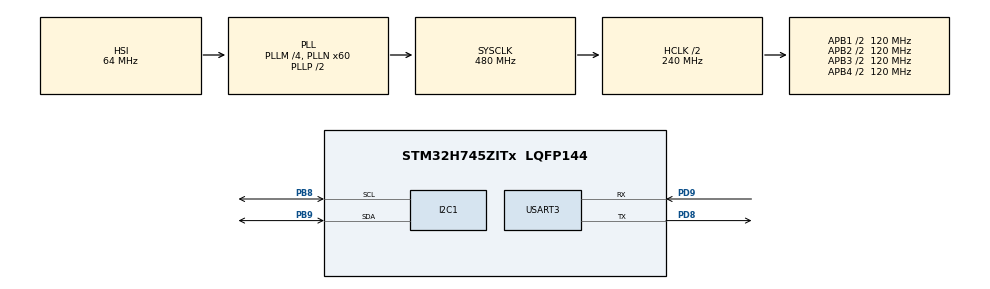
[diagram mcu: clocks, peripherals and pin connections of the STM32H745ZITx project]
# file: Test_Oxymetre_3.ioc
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CortexM4.IPs=FATFS_M4\:I,FREERTOS_M4\:I,IWDG2\:I,RCC,WWDG2\:I,DMA,BDMA,MDMA,NVIC2\:I,ETH,DEBUG,PDM2PCM_M4\:I,PWR,RESMGR_UTILITY,SYS_M4\:I,USB_DEVICE_M4\:I,USB_HOST_M4\:I,CORTEX_M4\:I,GPIO,OPENAMP_M4\:I,VREFBUF
CortexM7.IPs=FATFS_M7\:I,FREERTOS_M7\:I,IWDG1\:I,RCC\:I,WWDG1\:I,DMA\:I,BDMA\:I,MDMA\:I,NVIC1\:I,SYS\:I,USART3\:I,USB_OTG_FS\:I,ETH\:I,CORTEX_M7\:I,DEBUG\:I,PDM2PCM_M7\:I,PWR\:I,RESMGR_UTILITY\:I,USB_DEVICE_M7\:I,USB_HOST_M7\:I,GPIO\:I,OPENAMP_M7\:I,VREFBUF\:I,TIM2\:I,I2C1\:I
I2C1.Timing=0x307075B1
Mcu.Family=STM32H7
Mcu.Name=STM32H745ZITx
Mcu.Package=LQFP144
NVIC1.I2C1_ER_IRQn=true\:0\:0\:false\:false\:true\:true\:true\:true
NVIC1.I2C1_EV_IRQn=true\:0\:0\:false\:false\:true\:true\:true\:true
NVIC1.PriorityGroup=NVIC_PRIORITYGROUP_4
NVIC1.TIM2_IRQn=true\:0\:0\:false\:false\:true\:true\:true\:true
NVIC2.PriorityGroup=NVIC_PRIORITYGROUP_4
PB8.GPIO_Pu=GPIO_PULLUP
PB8.GPIO_Speed=GPIO_SPEED_FREQ_HIGH
PB8.Mode=I2C
PB8.PinAttribute=CortexM7
PB8.Signal=I2C1_SCL
PB9.GPIO_Pu=GPIO_PULLUP
PB9.GPIO_Speed=GPIO_SPEED_FREQ_HIGH
PB9.Mode=I2C
PB9.PinAttribute=CortexM7
PB9.Signal=I2C1_SDA
PD8.Mode=Asynchronous
PD8.PinAttribute=CortexM7
PD8.Signal=USART3_TX
PD9.Mode=Asynchronous
PD9.PinAttribute=CortexM7
PD9.Signal=USART3_RX
ProjectManager.HeapSize=M4-0x200,M7-0x200
ProjectManager.StackSize=M4-0x400,M7-0x400
ProjectManager.TargetToolchain=STM32CubeIDE
RCC.ADCFreq_Value=129000000
RCC.APB1Freq_Value=120000000
RCC.APB2Freq_Value=120000000
RCC.APB3Freq_Value=120000000
RCC.APB4Freq_Value=120000000
RCC.CortexFreq_Value=480000000
RCC.D1PPRE=RCC_APB3_DIV2
RCC.D2PPRE1=RCC_APB1_DIV2
RCC.D2PPRE2=RCC_APB2_DIV2
RCC.D3PPRE=RCC_APB4_DIV2
RCC.DIVM1=4
RCC.DIVM3=22
RCC.DIVN1=60
RCC.DIVN3=169
RCC.DIVQ3=4
RCC.HCLKFreq_Value=240000000
RCC.HPRE=RCC_HCLK_DIV2
RCC.PLL2FRACN=0
RCC.PLL3FRACN=0
RCC.PLLFRACN=0
RCC.SYSCLKFreq_VALUE=480000000
RCC.SYSCLKSource=RCC_SYSCLKSOURCE_PLLCLK
RCC.SupplySource=PWR_DIRECT_SMPS_SUPPLY
RCC.USBCLockSelection=RCC_USBCLKSOURCE_PLL3
RCC.USBFreq_Value=122909090.9090909
TIM2.AutoReloadPreload=TIM_AUTORELOAD_PRELOAD_ENABLE
TIM2.Period=240000-1
USART3.VirtualMode-Asynchronous=VM_ASYNC
VP_SYS_M4_VS_Systick.Mode=SysTick
VP_TIM2_VS_ClockSourceINT.Mode=Internal
board=NUCLEO-H745ZI-Q

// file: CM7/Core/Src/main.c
/* USER CODE BEGIN Header */
/**
  ******************************************************************************
  * @file           : main.c
  * @brief          : Main program body
  ******************************************************************************
  * @attention
  *
  * Copyright (c) 2022 STMicroelectronics.
  * All rights reserved.
  *
  * This software is licensed under terms that can be found in the LICENSE file
  * in the root directory of this software component.
  * If no LICENSE file comes with this software, it is provided AS-IS.
  *
  ******************************************************************************
  */
/* USER CODE END Header */
#include "main.h"

/* USER CODE BEGIN Includes */
#include "MAX30102.h"
#include "MyDsp.h"
#include "arm_math.h"
/* USER CODE END Includes */

/* USER CODE BEGIN PD */

#ifndef HSEM_ID_0
#define HSEM_ID_0 (0U) /* HW semaphore 0*/
#endif
/* USER CODE END PD */

/* USER CODE BEGIN PM */

#define SamplingFrequencyHz			1000
#define SYSORD						4
#define SYSORD2						4
/* USER CODE END PM */

I2C_HandleTypeDef hi2c1;

TIM_HandleTypeDef htim2;

UART_HandleTypeDef huart3;

/* USER CODE BEGIN PV */
uint32_t RED=0;
uint32_t IR=0;

uint32_t SampleTaken = 0 ;
double Data = 0 ;

double HR1 = 0 ;
double HR2 = 0 ;

extern double Frequence;
extern double Maxim;
extern double Minim;

extern double Frequence2;
extern double Maxim2;
extern double Minim2;

extern double Spo2;

IIR_Filter LpFilter;
Circular_Buffer LpFilterInputBuffer;
Circular_Buffer LpFilterOutputBuffer;
double LpFilterOutput =0;

IIR_Filter LpFilter2;
Circular_Buffer LpFilterInputBuffer2;
Circular_Buffer LpFilterOutputBuffer2;
double LpFilterOutput2 =0;

IIR_Filter HpFilter;
Circular_Buffer HpFilterInputBuffer;
Circular_Buffer HpFilterOutputBuffer;
double HpFilterOutput =0;

IIR_Filter HpFilter2;
Circular_Buffer HpFilterInputBuffer2;
Circular_Buffer HpFilterOutputBuffer2;
double HpFilterOutput2 =0;

double CoeffNum[SYSORD] = {1.036668483278547e-07,3.110005449835640e-07,3.110005449835640e-07,1.036668483278547e-07};
double CoeffDenum[SYSORD] = {1 , -2.981150513836762,2.962478260680657,-0.981326917509109};

double CoeffNum2[SYSORD2] = {0.996863335697075,-2.990590007091225,2.990590007091225,-0.996863335697075};
double CoeffDenum2[SYSORD2] = {1,-2.993716817276653,2.987453358242848,-0.993736510057099};

double ContainerRED[1000]={0};
double ContainerIR[1000]={0};

double MaxRed=0;
double MaxIR=0;
double MinRed=0;
double MinIR=0;
double R = 0 ;

double Spo2v2 = 0 ;

double HeartRateFinal = 0 ;
double Spo2Final = 0 ;

char Buf[50];
/* USER CODE END PV */

void SystemClock_Config(void);
static void MX_GPIO_Init(void);
static void MX_TIM2_Init(void);
static void MX_I2C1_Init(void);
static void MX_USART3_UART_Init(void);

int main(void)
{

  /* MCU Configuration--------------------------------------------------------*/

  /* Reset of all peripherals, Initializes the Flash interface and the Systick. */
  HAL_Init();

  /* Configure the system clock */
  SystemClock_Config();

  /* Initialize all configured peripherals */
  MX_GPIO_Init();
  MX_TIM2_Init();
  MX_I2C1_Init();
  MX_USART3_UART_Init();
  /* USER CODE BEGIN 2 */

  CircBuff_Init(&LpFilterInputBuffer, SYSORD);
  CircBuff_Init(&LpFilterOutputBuffer, SYSORD);
  IIR_Init(&LpFilter, SYSORD, &CoeffNum[0], SYSORD, &CoeffDenum[0]);

  CircBuff_Init(&LpFilterInputBuffer2, SYSORD);
  CircBuff_Init(&LpFilterOutputBuffer2, SYSORD);
  IIR_Init(&LpFilter2, SYSORD, &CoeffNum[0], SYSORD, &CoeffDenum[0]);

  CircBuff_Init(&HpFilterInputBuffer, SYSORD2);
  CircBuff_Init(&HpFilterOutputBuffer, SYSORD2);
  IIR_Init(&HpFilter, SYSORD2, &CoeffNum2[0], SYSORD2, &CoeffDenum2[0]);

  CircBuff_Init(&HpFilterInputBuffer2, SYSORD2);
  CircBuff_Init(&HpFilterOutputBuffer2, SYSORD2);
  IIR_Init(&HpFilter2, SYSORD2, &CoeffNum2[0], SYSORD2, &CoeffDenum2[0]);

  MAX30102_Init();

  HAL_TIM_Base_Start_IT(&htim2);
  /* USER CODE END 2 */

  /* Infinite loop */
  while (1)
  {

  }
}

void SystemClock_Config(void)
{
  RCC_OscInitTypeDef RCC_OscInitStruct = {0};
  RCC_ClkInitTypeDef RCC_ClkInitStruct = {0};

  /** Supply configuration update enable
  */
  HAL_PWREx_ConfigSupply(PWR_DIRECT_SMPS_SUPPLY);

  /** Configure the main internal regulator output voltage
  */
  __HAL_PWR_VOLTAGESCALING_CONFIG(PWR_REGULATOR_VOLTAGE_SCALE0);

  while(!__HAL_PWR_GET_FLAG(PWR_FLAG_VOSRDY)) {}

  /** Initializes the RCC Oscillators according to the specified parameters
  * in the RCC_OscInitTypeDef structure.
  */
  RCC_OscInitStruct.OscillatorType = RCC_OSCILLATORTYPE_HSI;
  RCC_OscInitStruct.HSIState = RCC_HSI_DIV1;
  RCC_OscInitStruct.HSICalibrationValue = RCC_HSICALIBRATION_DEFAULT;
  RCC_OscInitStruct.PLL.PLLState = RCC_PLL_ON;
  RCC_OscInitStruct.PLL.PLLSource = RCC_PLLSOURCE_HSI;
  RCC_OscInitStruct.PLL.PLLM = 4;
  RCC_OscInitStruct.PLL.PLLN = 60;
  RCC_OscInitStruct.PLL.PLLP = 2;
  RCC_OscInitStruct.PLL.PLLQ = 2;
  RCC_OscInitStruct.PLL.PLLR = 2;
  RCC_OscInitStruct.PLL.PLLRGE = RCC_PLL1VCIRANGE_3;
  RCC_OscInitStruct.PLL.PLLVCOSEL = RCC_PLL1VCOWIDE;
  RCC_OscInitStruct.PLL.PLLFRACN = 0;
  if (HAL_RCC_OscConfig(&RCC_OscInitStruct) != HAL_OK)
  {
    Error_Handler();
  }

  /** Initializes the CPU, AHB and APB buses clocks
  */
  RCC_ClkInitStruct.ClockType = RCC_CLOCKTYPE_HCLK|RCC_CLOCKTYPE_SYSCLK
                              |RCC_CLOCKTYPE_PCLK1|RCC_CLOCKTYPE_PCLK2
                              |RCC_CLOCKTYPE_D3PCLK1|RCC_CLOCKTYPE_D1PCLK1;
  RCC_ClkInitStruct.SYSCLKSource = RCC_SYSCLKSOURCE_PLLCLK;
  RCC_ClkInitStruct.SYSCLKDivider = RCC_SYSCLK_DIV1;
  RCC_ClkInitStruct.AHBCLKDivider = RCC_HCLK_DIV2;
  RCC_ClkInitStruct.APB3CLKDivider = RCC_APB3_DIV2;
  RCC_ClkInitStruct.APB1CLKDivider = RCC_APB1_DIV2;
  RCC_ClkInitStruct.APB2CLKDivider = RCC_APB2_DIV2;
  RCC_ClkInitStruct.APB4CLKDivider = RCC_APB4_DIV2;

  if (HAL_RCC_ClockConfig(&RCC_ClkInitStruct, FLASH_LATENCY_4) != HAL_OK)
  {
    Error_Handler();
  }
}

static void MX_I2C1_Init(void)
{

  hi2c1.Instance = I2C1;
  hi2c1.Init.Timing = 0x307075B1;
  hi2c1.Init.OwnAddress1 = 0;
  hi2c1.Init.AddressingMode = I2C_ADDRESSINGMODE_7BIT;
  hi2c1.Init.DualAddressMode = I2C_DUALADDRESS_DISABLE;
  hi2c1.Init.OwnAddress2 = 0;
  hi2c1.Init.OwnAddress2Masks = I2C_OA2_NOMASK;
  hi2c1.Init.GeneralCallMode = I2C_GENERALCALL_DISABLE;
  hi2c1.Init.NoStretchMode = I2C_NOSTRETCH_DISABLE;
  if (HAL_I2C_Init(&hi2c1) != HAL_OK)
  {
    Error_Handler();
  }

  /** Configure Analogue filter
  */
  if (HAL_I2CEx_ConfigAnalogFilter(&hi2c1, I2C_ANALOGFILTER_ENABLE) != HAL_OK)
  {
    Error_Handler();
  }

  /** Configure Digital filter
  */
  if (HAL_I2CEx_ConfigDigitalFilter(&hi2c1, 0) != HAL_OK)
  {
    Error_Handler();
  }

}

static void MX_TIM2_Init(void)
{

  TIM_ClockConfigTypeDef sClockSourceConfig = {0};
  TIM_MasterConfigTypeDef sMasterConfig = {0};

  htim2.Instance = TIM2;
  htim2.Init.Prescaler = 0;
  htim2.Init.CounterMode = TIM_COUNTERMODE_UP;
  htim2.Init.Period = 240000-1;
  htim2.Init.ClockDivision = TIM_CLOCKDIVISION_DIV1;
  htim2.Init.AutoReloadPreload = TIM_AUTORELOAD_PRELOAD_ENABLE;
  if (HAL_TIM_Base_Init(&htim2) != HAL_OK)
  {
    Error_Handler();
  }
  sClockSourceConfig.ClockSource = TIM_CLOCKSOURCE_INTERNAL;
  if (HAL_TIM_ConfigClockSource(&htim2, &sClockSourceConfig) != HAL_OK)
  {
    Error_Handler();
  }
  sMasterConfig.MasterOutputTrigger = TIM_TRGO_RESET;
  sMasterConfig.MasterSlaveMode = TIM_MASTERSLAVEMODE_DISABLE;
  if (HAL_TIMEx_MasterConfigSynchronization(&htim2, &sMasterConfig) != HAL_OK)
  {
    Error_Handler();
  }

}

static void MX_USART3_UART_Init(void)
{

  huart3.Instance = USART3;
  huart3.Init.BaudRate = 115200;
  huart3.Init.WordLength = UART_WORDLENGTH_8B;
  huart3.Init.StopBits = UART_STOPBITS_1;
  huart3.Init.Parity = UART_PARITY_NONE;
  huart3.Init.Mode = UART_MODE_TX_RX;
  huart3.Init.HwFlowCtl = UART_HWCONTROL_NONE;
  huart3.Init.OverSampling = UART_OVERSAMPLING_16;
  huart3.Init.OneBitSampling = UART_ONE_BIT_SAMPLE_DISABLE;
  huart3.Init.ClockPrescaler = UART_PRESCALER_DIV1;
  huart3.AdvancedInit.AdvFeatureInit = UART_ADVFEATURE_NO_INIT;
  if (HAL_UART_Init(&huart3) != HAL_OK)
  {
    Error_Handler();
  }
  if (HAL_UARTEx_SetTxFifoThreshold(&huart3, UART_TXFIFO_THRESHOLD_1_8) != HAL_OK)
  {
    Error_Handler();
  }
  if (HAL_UARTEx_SetRxFifoThreshold(&huart3, UART_RXFIFO_THRESHOLD_1_8) != HAL_OK)
  {
    Error_Handler();
  }
  if (HAL_UARTEx_DisableFifoMode(&huart3) != HAL_OK)
  {
    Error_Handler();
  }

}

static void MX_GPIO_Init(void)
{

  /* GPIO Ports Clock Enable */
  __HAL_RCC_GPIOD_CLK_ENABLE();
  __HAL_RCC_GPIOB_CLK_ENABLE();

}

/* USER CODE BEGIN 4 */
void HAL_TIM_PeriodElapsedCallback(TIM_HandleTypeDef *htim)
{

// Raw Data Acquisition
	MAX30102_GetValues(&RED, &IR) ;

// IR Data filter
	Data = IR ;

	CircBuff_Write(&LpFilterInputBuffer, Data);
	LpFilterOutput = IIR_Calculate(&LpFilter, &LpFilterInputBuffer, &LpFilterOutputBuffer);
	CircBuff_Write(&LpFilterOutputBuffer, LpFilterOutput);

	CircBuff_Write(&HpFilterInputBuffer, LpFilterOutput);
	HpFilterOutput = IIR_Calculate(&HpFilter, &HpFilterInputBuffer, &HpFilterOutputBuffer);
	CircBuff_Write(&HpFilterOutputBuffer, HpFilterOutput);

	DSP_ExtremumV3(HpFilterOutput, &Maxim, &Minim, &Frequence);

// RED Data filter
	Data = RED ;
	CircBuff_Write(&LpFilterInputBuffer2, Data);
	LpFilterOutput2 = IIR_Calculate(&LpFilter2, &LpFilterInputBuffer2, &LpFilterOutputBuffer2);
	CircBuff_Write(&LpFilterOutputBuffer2, LpFilterOutput2);

	CircBuff_Write(&HpFilterInputBuffer2, LpFilterOutput2);
	HpFilterOutput2 = IIR_Calculate(&HpFilter2, &HpFilterInputBuffer2, &HpFilterOutputBuffer2);
	CircBuff_Write(&HpFilterOutputBuffer2, HpFilterOutput2);

	DSP_ExtremumV4(HpFilterOutput2, &Maxim2, &Minim2, &Frequence2);

// Collect the calculated Heart rate frequencies
	HR1 = Frequence;
	HR2 = Frequence2;

	ContainerIR[SampleTaken] = IR;
	ContainerRED[SampleTaken] = RED;
	SampleTaken++;

// Data collection done
	if(SampleTaken==1000)
	{
		arm_max_no_idx_f64(ContainerRED, 1000, &MaxRed);
		arm_max_no_idx_f64(ContainerIR, 1000, &MaxIR);
		arm_min_no_idx_f64(ContainerRED, 1000, &MinRed);
		arm_min_no_idx_f64(ContainerIR, 1000, &MinIR);
		R = (MaxRed/MinRed)/(MaxIR/MinIR);
		// We are using two different approximations for Spo2 calculation and Heart rate
		Spo2 = -16.5191 * (R*R) - 7.9276 * R + 124.4951;
		Spo2v2 = 125 - 25 * R;
		Spo2Final = 0.5*(Spo2 + Spo2v2);
		HeartRateFinal =( HR1 + HR2 )*0.5;
		SampleTaken = 0;
	}
}
/* USER CODE END 4 */

void Error_Handler(void)
{
  __disable_irq();
  while (1)
  {
  }
}
